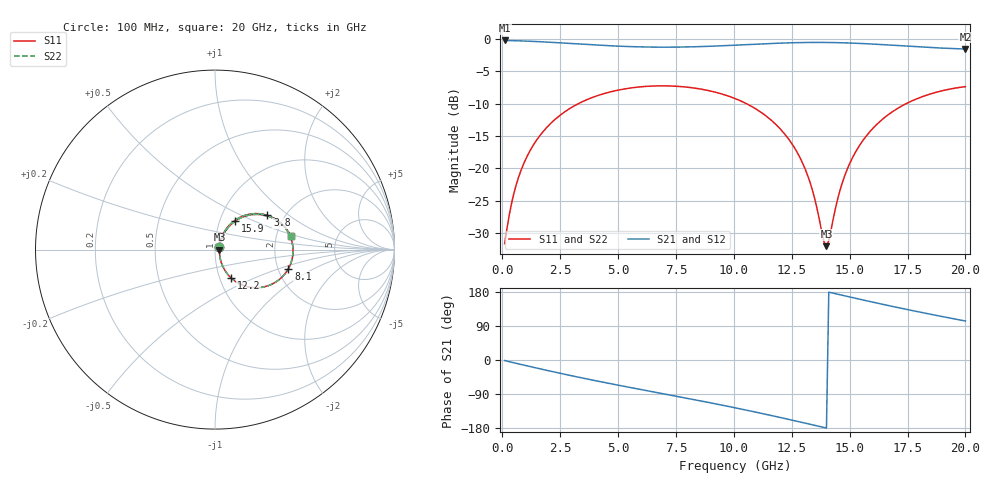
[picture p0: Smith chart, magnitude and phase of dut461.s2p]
! Touchstone file exported from HFSS 2026.1.0
!  File:  C:/ffzhzh/LocalFiles/Ansys_Project_Files/temp_train_TSV_RDL_461_1783101350_53076.aedt
!  Generated:  02:09:09 AM Jul  4, 2026
!  Design:  TSV_RDL
!  Project:  temp_train_TSV_RDL_461_1783101350_53076
! Variables:
!  h_bsmrdl = 3.49um
!  h_ox = 20um
!  h_rdl = 5um
!  h_sub = 99.55um
!  h_tmrdl = 5.34um
!  h_tsv = 99.55um
!  h_via = 3um
!  l_bsmrdl = 655.02um
!  l_sub = 4008.29um
!  l_tmrdl = 388.36um
!  m_sub = 200um
!  pitch = 33.48um
!  r_tsv = 8.64um
!  s_tmrdl = 10um
!  w_bsmrdl = 12.71um
!  w_sub = 500um
!  w_tmrdl = 17.22um
!  x_tsv_center1 = 396.97um
!  x_tsv_center2 = 1064.7um
!  x_tsv_center3 = 1470.28um
!  x_tsv_center4 = 2138.01um
!  x_tsv_center5 = 2543.59um
!  x_tsv_center6 = 3211.32um
# GHz S MA R 50.000000
! Terminal data exported
! Port[1] = TM_RDL1_1_T1
! Port[2] = TM_RDL5_1_T1
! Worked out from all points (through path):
!   200 points, 100 MHz to 20 GHz, reference 50 ohm
!   highest |S21| = -0.20 dB at 100 MHz (marker M1); lowest = -1.5 dB at 20 GHz (marker M2)
!   group delay of S21, straight-line fit = 35.5 ps
!   lowest |S11| = -32.1 dB at 14 GHz (marker M3), VSWR 1.05, Z = 52.6 + j0.00874 ohm
!   |S11| at or under -10 dB: start of sweep to 3.282 GHz; 10.55 GHz to 17.44 GHz (6.89 GHz wide, 49.2 % of centre)
!   |S22| runs from -32.0 to -7.2 dB; largest |S21 - S12| = 1.9e-14
!   S11 on the Smith chart (normalised r, x): 100 MHz: 1.05, +0.02; 3.8 GHz: 1.63, +0.71; 8.1 GHz: 2.28, -0.59; 12.2 GHz: 1.14, -0.37; 15.9 GHz: 1.18, +0.39; 20 GHz: 2.41, +0.44
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0.1  0.02608 27.0  0.977 -1.5  0.977 -1.5  0.02608 27.0
! Gamma 0 0 0 0
! Port Impedance 50 0 50 0
0.3  0.04344 51.6  0.9751 -4.5  0.9751 -4.5  0.04344 51.6
0.6  0.07435 61.0  0.9718 -8.8  0.9718 -8.8  0.07435 61.0
1.2  0.1369 61.0  0.9632 -17.3  0.9632 -17.3  0.1369 61.0
2.2  0.2323 51.6  0.9431 -31.1  0.9431 -31.1  0.2323 51.6
3.5  0.3304 36.7  0.9124 -48.1  0.9124 -48.1  0.3304 36.7
3.8  0.3484 33.2  0.9056 -51.8  0.9056 -51.8  0.3484 33.2
6.8  0.4349 -0.3  0.8669 -87.4  0.8669 -87.4  0.4349 -0.3
8.1  0.4225 -14.6  0.8712 -102.5  0.8712 -102.5  0.4225 -14.6
10.1  0.344 -37.1  0.8988 -126.7  0.8988 -126.7  0.344 -37.1
11.3  0.2615 -50.7  0.9203 -142.2  0.9203 -142.2  0.2615 -50.7
12.2  0.1838 -60.2  0.934 -154.4  0.934 -154.4  0.1838 -60.1
12.9  0.1165 -65.0  0.941 -164.1  0.941 -164.1  0.1165 -64.9
13.4  0.06704 -62.3  0.9433 -171.1  0.9433 -171.1  0.0671 -62.2
13.9  0.02666 -21.8  0.9431 -178.2  0.9431 -178.2  0.02683 -21.7
14  0.02494 0.2  0.9427 -179.6  0.9427 -179.6  0.02512 0.2
14.8  0.08865 60.5  0.9362 169.2  0.9362 169.2  0.08871 60.4
15.3  0.1379 59.7  0.9292 162.2  0.9292 162.2  0.1379 59.6
15.9  0.1944 54.8  0.9183 154.0  0.9183 154.0  0.1944 54.7
16.7  0.2625 46.5  0.9011 143.3  0.9011 143.3  0.2625 46.4
18.3  0.367 28.6  0.8656 123.1  0.8656 123.1  0.367 28.6
20  0.4288 10.0  0.8389 102.9  0.8389 102.9  0.4288 10.0
